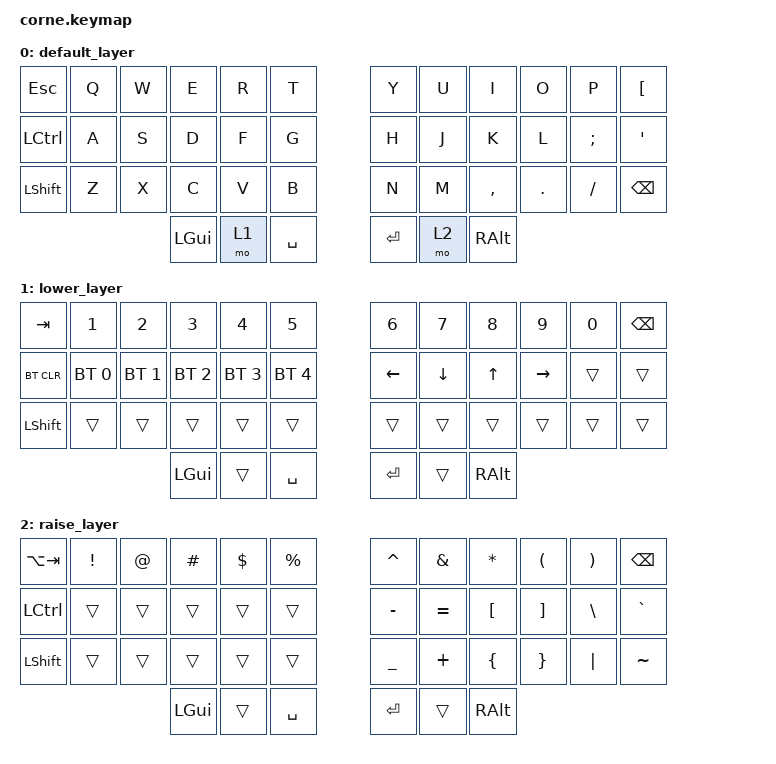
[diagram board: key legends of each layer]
/*
 * Copyright (c) 2020 The ZMK Contributors
 *
 * SPDX-License-Identifier: MIT
 */

#include <behaviors.dtsi>
#include <dt-bindings/zmk/bt.h>
#include <dt-bindings/zmk/keys.h>

/ {
    combos {
        compatible = "zmk,combos";

        BackspaceR {
            bindings = <&kp BACKSPACE>;
            key-positions = <21 22>;
        };

        BackspaceL {
            bindings = <&kp BACKSPACE>;
            key-positions = <13 14>;
        };
    };

    keymap {
        compatible = "zmk,keymap";

        default_layer {
            // -----------------------------------------------------------------------------------------
            // |  TAB |  Q  |  W  |  E  |  R  |  T  |   |  Z  |  U   |  I  |  O  |  P  | BSPC |
            // | CTRL |  A  |  S  |  D  |  F  |  G  |   |  H  |  J   |  K  |  L  |  ;  |  '   |
            // | SHFT |  Y  |  X  |  C  |  V  |  B  |   |  N  |  M   |  ,  |  .  |  -  | ESC  |
            //                    | GUI | LWR | SPC |   | ENT | RSE  | ALT |

            bindings = <
&kp ESC    &kp Q  &kp W  &kp E     &kp R  &kp T        &kp Y    &kp U  &kp I      &kp O    &kp P          &kp LEFT_BRACKET
&kp LCTRL  &kp A  &kp S  &kp D     &kp F  &kp G        &kp H    &kp J  &kp K      &kp L    &kp SEMICOLON  &kp SQT
&kp LSHFT  &kp Z  &kp X  &kp C     &kp V  &kp B        &kp N    &kp M  &kp COMMA  &kp DOT  &kp SLASH      &kp BACKSPACE
                         &kp LGUI  &mo 1  &kp SPACE    &kp RET  &mo 2  &kp RALT
            >;
        };

        lower_layer {
            // -----------------------------------------------------------------------------------------
            // |  ESC |  1  |  2  |  3  |  4  |  5  |   |  6  |  7  |  8  |  9  |  0  | BSPC |
            // | BTCLR| BT1 | BT2 | BT3 | BT4 | BT5 |   | LFT | DWN |  UP | RGT |     |      |
            // | SHFT |     |     |     |     |     |   |     |     |     |     |     |      |
            //                    | GUI |     | SPC |   | ENT |     | ALT |

            bindings = <
&kp TAB     &kp N1        &kp N2        &kp N3        &kp N4        &kp N5          &kp N6    &kp N7    &kp N8    &kp N9     &kp N0  &kp BSPC
&bt BT_CLR  &bt BT_SEL 0  &bt BT_SEL 1  &bt BT_SEL 2  &bt BT_SEL 3  &bt BT_SEL 4    &kp LEFT  &kp DOWN  &kp UP    &kp RIGHT  &trans  &trans
&kp LSHFT   &trans        &trans        &trans        &trans        &trans          &trans    &trans    &trans    &trans     &trans  &trans
                                        &kp LGUI      &trans        &kp SPACE       &kp RET   &trans    &kp RALT
            >;
        };

        raise_layer {
            // -----------------------------------------------------------------------------------------
            // |  TAB |  !  |  @  |  #  |  $  |  %  |   |  ^  |  &  |  *  |  (  |  )  | BSPC |
            // | CTRL |     |     |     |     |     |   |  -  |  =  |  [  |  ]  |  \  |  `   |
            // | SHFT |     |     |     |     |     |   |  _  |  +  |  {  |  }  | "|" |  ~   |
            //                    | GUI |     | SPC |   | ENT |     | ALT |

            bindings = <
&kp LA(TAB)  &kp EXCL  &kp AT  &kp HASH  &kp DLLR  &kp PRCNT    &kp CARET  &kp AMPS   &kp ASTRK  &kp LPAR  &kp RPAR  &kp BSPC
&kp LCTRL    &trans    &trans  &trans    &trans    &trans       &kp MINUS  &kp EQUAL  &kp LBKT   &kp RBKT  &kp BSLH  &kp GRAVE
&kp LSHFT    &trans    &trans  &trans    &trans    &trans       &kp UNDER  &kp PLUS   &kp LBRC   &kp RBRC  &kp PIPE  &kp TILDE
                               &kp LGUI  &trans    &kp SPACE    &kp RET    &trans     &kp RALT
            >;
        };
    };
};
